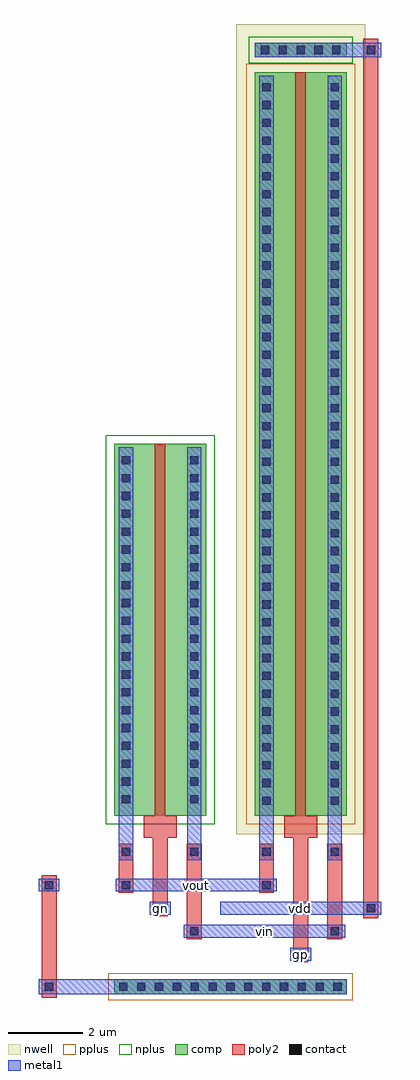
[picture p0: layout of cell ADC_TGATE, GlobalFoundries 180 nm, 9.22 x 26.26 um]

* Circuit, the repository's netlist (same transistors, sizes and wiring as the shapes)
* extracted by klt extract --deck gf180mcu

* cell ADC_TGATE
* pin gn
* pin gp
* pin vin
* pin vout
* pin vsubs
.SUBCKT ADC_TGATE gn gp vin vout vsubs
* device instance $1 r0 *1 1.24,5 nfet
M$1 vin gn vout vsubs nfet L=0.28U W=10U AS=11P AD=11P PS=22.2U PD=22.2U
* device instance $2 r0 *1 5.02,10 pfet
M$2 vin gp vout \$5 pfet L=0.28U W=20U AS=22P AD=22P PS=42.2U PD=42.2U
.ENDS ADC_TGATE

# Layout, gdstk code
import gdstk
lib = gdstk.Library(unit=1e-6, precision=1e-09)
def R(c, l, rs):  # rectangles x0, y0, x1, y1
    for r in rs: c.add(gdstk.rectangle(r[:2], r[2:], *l))
def A(c, l, x, y, w, h, nx, ny, dx, dy):  # array of equal rectangles
    R(c, l, [(x+i*dx, y+j*dy, x+i*dx+w, y+j*dy+h) for i in range(nx) for j in range(ny)])
nwell = (21, 0)
comp = (22, 0)
poly2 = (30, 0)
pplus = (31, 0)
nplus = (32, 0)
contact = (33, 0)
metal1 = (34, 0)

adc_tgate = lib.new_cell('ADC_TGATE')
R(adc_tgate, nwell, [(3.28,-0.5,6.76,21.3)])
R(adc_tgate, comp, [(0,-4.8,6.26,-4.4), (0,0,2.48,10), (3.78,0,6.26,20), (3.78,20.4,6.26,20.8)])
R(adc_tgate, poly2, [(-1.95,-4.9,-1.55,-1.6), (4.82,-3.94,5.22,-1.2), (1.96,-3.32,2.36,-1.2), (5.74,-3.32,6.14,-1.2), (6.71,-2.76,7.11,20.9), (1.04,-2.7,1.44,-1.2), (0.12,-2.08,0.52,-1.2), (3.9,-2.08,4.3,-1.2), (0.12,-1.2,0.52,-0.75), (1.04,-1.2,1.44,-0.6), (1.96,-1.2,2.36,-0.75), (3.9,-1.2,4.3,-0.75), (4.82,-1.2,5.22,-0.6), (5.74,-1.2,6.14,-0.75), (0.8,-0.6,1.68,0), (4.58,-0.6,5.46,0), (1.1,0,1.38,10), (4.88,0,5.16,20)])
R(adc_tgate, pplus, [(-0.16,-4.96,6.42,-4.24), (3.55,-0.23,6.49,20.23)])
R(adc_tgate, nplus, [(-0.23,-0.23,2.71,10.23), (3.62,20.24,6.42,20.96)])
A(adc_tgate, contact, 0.14, -4.71, 0.22, 0.22, 13, 1, 0.48, 0)
A(adc_tgate, contact, 3.99, 0.29, 0.22, 0.22, 1, 41, 0, 0.48)
A(adc_tgate, contact, 5.83, 0.29, 0.22, 0.22, 1, 41, 0, 0.48)
A(adc_tgate, contact, 0.21, 0.33, 0.22, 0.22, 1, 20, 0, 0.48)
A(adc_tgate, contact, 2.05, 0.33, 0.22, 0.22, 1, 20, 0, 0.48)
A(adc_tgate, contact, 3.95, 20.49, 0.22, 0.22, 5, 1, 0.48, 0)
R(adc_tgate, contact, [(-1.86,-4.71,-1.64,-4.49), (4.91,-3.84,5.13,-3.62), (2.05,-3.22,2.27,-3), (5.83,-3.22,6.05,-3), (1.13,-2.6,1.35,-2.38), (6.8,-2.6,7.02,-2.38), (-1.86,-1.98,-1.64,-1.76), (0.21,-1.98,0.43,-1.76), (3.99,-1.98,4.21,-1.76), (0.21,-1.08,0.43,-0.86), (2.05,-1.08,2.27,-0.86), (3.99,-1.08,4.21,-0.86), (5.83,-1.08,6.05,-0.86), (6.8,20.49,7.02,20.71)])
R(adc_tgate, metal1, [(-2.03,-4.8,6.26,-4.4), (4.74,-3.9,5.3,-3.56), (1.88,-3.28,6.22,-2.94), (0.96,-2.66,1.52,-2.32), (2.85,-2.66,7.19,-2.32), (-2.03,-2.04,-1.47,-1.7), (0.04,-2.04,4.38,-1.7), (0.13,-1.2,0.51,0.09), (1.97,-1.2,2.35,0.09), (3.91,-1.2,4.29,0.09), (5.75,-1.2,6.13,0.09), (0.13,0.09,0.51,9.91), (1.97,0.09,2.35,9.91), (3.91,0.09,4.29,19.91), (5.75,0.09,6.13,19.91), (3.78,20.4,6.26,20.8), (3.78,20.4,7.19,20.8)])
adc_tgate.add(gdstk.Label('vout', (2.21,-1.87), layer=34, texttype=10))
adc_tgate.add(gdstk.Label('gn', (1.24,-2.49), layer=34, texttype=10))
adc_tgate.add(gdstk.Label('vin', (4.05,-3.11), layer=34, texttype=10))
adc_tgate.add(gdstk.Label('gp', (5.02,-3.73), layer=34, texttype=10))
adc_tgate.add(gdstk.Label('vdd', (5.02,-2.49), layer=34, texttype=10))

lib.write_gds('ADC_TGATE.gds')
